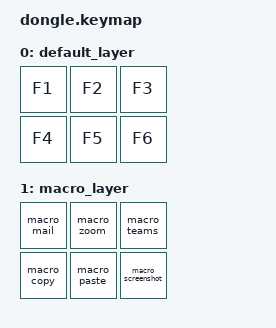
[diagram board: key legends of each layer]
#include <behaviors.dtsi>
#include <dt-bindings/zmk/keys.h>
#include <dt-bindings/zmk/bt.h>
#include <dt-bindings/zmk/outputs.h>

/ {
    keymap {
        compatible = "zmk,keymap";

        default_layer {
            bindings = <
                &kp F1  &kp F2  &kp F3
                &kp F4  &kp F5  &kp F6
            >;
        };

        macro_layer {
            bindings = <
                &macro_mail  &macro_zoom  &macro_teams
                &macro_copy  &macro_paste &macro_screenshot
            >;
        };
    };

    macros {
        macro_mail: macro_mail {
            label = "MACRO_MAIL";
            wait-ms = <0>;
            tap-ms = <0>;
            bindings = <&kp LGUI &kp NUMBER_1>;
        };

        macro_zoom: macro_zoom {
            label = "MACRO_ZOOM";
            wait-ms = <0>;
            tap-ms = <0>;
            bindings = <&kp LGUI &kp NUMBER_2>;
        };

        macro_copy: macro_copy {
            label = "MACRO_COPY";
            wait-ms = <0>;
            tap-ms = <0>;
            bindings = <&kp LC(C)>;
        };

        macro_paste: macro_paste {
            label = "MACRO_PASTE";
            wait-ms = <0>;
            tap-ms = <0>;
            bindings = <&kp LC(V)>;
        };
    };
};
